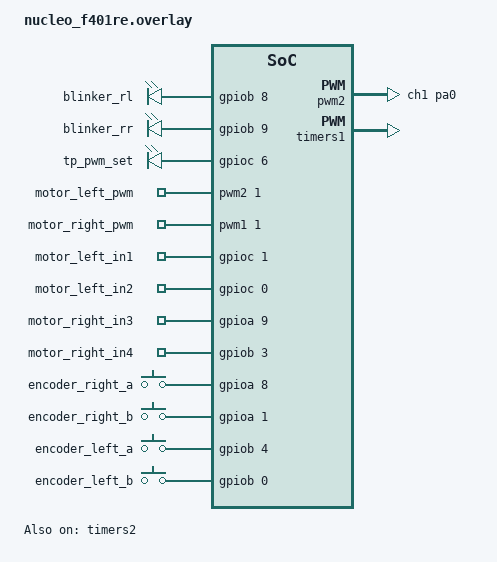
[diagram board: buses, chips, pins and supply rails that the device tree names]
/*
 * N3 drivetrain zone (rear). Applied after common/zephyr/dual_can.overlay,
 * which provides the CAN modules, CAN test points, DEG/ERR LEDs, TEST_BTN
 * and the watchdog.
 *
 * Lab 2 pins that collided with the handout's CAN wiring were moved:
 *   Right PWM ENB  PA7 -> PB13  (TIM1 CH1N, same channel/complementary flag)
 *   Right IN3      PB5 -> PA9   (D8)
 *   Encoder R-B    PA5 -> PA1   (A1, EXTI1)
 *   Encoder L-B    PB10 -> PB0  (A3, EXTI0; EXTI10 is CAN A's INT)
 *   RL             PC7 -> PB8   (D15)
 *   RR             PB6 -> PB9   (D14)
 * Unchanged: left PWM/PWM_OUT PA0, IN1 PC1, IN2 PC0, IN4/DIR_A PB3,
 *            encoder R-A PA8, L-A PB4, PWM_SET PC6.
 */
#include <zephyr/dt-bindings/pwm/stm32_pwm.h>

/ {
	aliases {
		motor-left-pwm = &motor_left_pwm;
		motor-right-pwm = &motor_right_pwm;
		motor-left-in1 = &motor_left_in1;
		motor-left-in2 = &motor_left_in2;
		motor-right-in3 = &motor_right_in3;
		motor-right-in4 = &motor_right_in4;
		encoder-right-a = &encoder_right_a;
		encoder-right-b = &encoder_right_b;
		encoder-left-a = &encoder_left_a;
		encoder-left-b = &encoder_left_b;
		blinker-left = &blinker_rl;
		blinker-right = &blinker_rr;
		tp-pwm-set = &tp_pwm_set;
	};

	rear_blinkers {
		compatible = "gpio-leds";

		blinker_rl: blinker_rl {
			gpios = <&gpiob 8 GPIO_ACTIVE_HIGH>;    /* D15 */
		};
		blinker_rr: blinker_rr {
			gpios = <&gpiob 9 GPIO_ACTIVE_HIGH>;    /* D14 */
		};
	};

	n3_test_points {
		compatible = "gpio-leds";

		tp_pwm_set: tp_pwm_set {
			gpios = <&gpioc 6 GPIO_ACTIVE_HIGH>;
		};
	};

	motor_pwm_outputs {
		compatible = "pwm-leds";

		motor_left_pwm: motor_left_pwm {
			pwms = <&pwm2 1 PWM_USEC(100) PWM_POLARITY_NORMAL>;
		};
		motor_right_pwm: motor_right_pwm {
			pwms = <&pwm1 1 PWM_USEC(100)
				(PWM_POLARITY_NORMAL | STM32_PWM_COMPLEMENTARY)>;
		};
	};

	motor_direction_outputs {
		compatible = "gpio-leds";

		motor_left_in1: motor_left_in1 {
			gpios = <&gpioc 1 GPIO_ACTIVE_HIGH>;    /* A4 */
		};
		motor_left_in2: motor_left_in2 {
			gpios = <&gpioc 0 GPIO_ACTIVE_HIGH>;    /* A5 */
		};
		motor_right_in3: motor_right_in3 {
			gpios = <&gpioa 9 GPIO_ACTIVE_HIGH>;    /* D8 */
		};
		motor_right_in4: motor_right_in4 {
			gpios = <&gpiob 3 GPIO_ACTIVE_HIGH>;    /* D3, DIR_A test point */
		};
	};

	encoder_inputs {
		compatible = "gpio-keys";

		encoder_right_a: encoder_right_a {
			gpios = <&gpioa 8 GPIO_ACTIVE_HIGH>;    /* D7, EXTI8 */
		};
		encoder_right_b: encoder_right_b {
			gpios = <&gpioa 1 GPIO_ACTIVE_HIGH>;    /* A1, EXTI1 */
		};
		encoder_left_a: encoder_left_a {
			gpios = <&gpiob 4 GPIO_ACTIVE_HIGH>;    /* D5, EXTI4 */
		};
		encoder_left_b: encoder_left_b {
			gpios = <&gpiob 0 GPIO_ACTIVE_HIGH>;    /* A3, EXTI0 */
		};
	};
};

/* Re-enable TIM2 (the shared overlay disables it) with CH1 on PA0 */
&timers2 {
	status = "okay";
};

&pwm2 {
	status = "okay";
	pinctrl-0 = <&tim2_ch1_pa0>;
	pinctrl-names = "default";
};

&timers1 {
	status = "okay";

	pwm1: pwm {
		status = "okay";
		pinctrl-0 = <&tim1_ch1n_pb13>;
		pinctrl-names = "default";
	};
};
